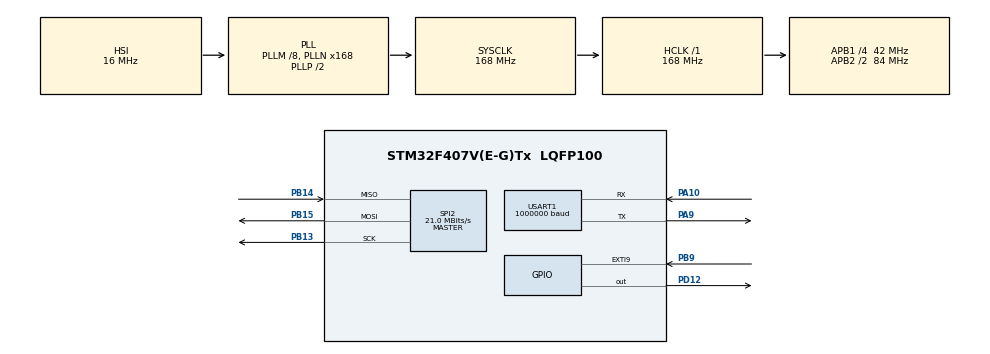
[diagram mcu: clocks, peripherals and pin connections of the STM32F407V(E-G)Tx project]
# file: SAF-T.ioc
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Mcu.Family=STM32F4
Mcu.Name=STM32F407V(E-G)Tx
Mcu.Package=LQFP100
NVIC.EXTI9_5_IRQn=true\:0\:0\:false\:false\:true\:true\:true\:true
NVIC.PriorityGroup=NVIC_PRIORITYGROUP_4
PA10.Mode=Asynchronous
PA10.Signal=USART1_RX
PA9.Mode=Asynchronous
PA9.Signal=USART1_TX
PB13.Mode=Full_Duplex_Master
PB13.Signal=SPI2_SCK
PB14.Mode=Full_Duplex_Master
PB14.Signal=SPI2_MISO
PB15.Mode=Full_Duplex_Master
PB15.Signal=SPI2_MOSI
PB9.GPIO_PuPd=GPIO_NOPULL
PB9.Signal=GPXTI9
PD12.Signal=GPIO_Output
ProjectManager.HeapSize=0x200
ProjectManager.StackSize=0x400
ProjectManager.TargetToolchain=STM32CubeIDE
RCC.48MHZClocksFreq_Value=84000000
RCC.AHBFreq_Value=168000000
RCC.APB1CLKDivider=RCC_HCLK_DIV4
RCC.APB1Freq_Value=42000000
RCC.APB1TimFreq_Value=84000000
RCC.APB2CLKDivider=RCC_HCLK_DIV2
RCC.APB2Freq_Value=84000000
RCC.APB2TimFreq_Value=168000000
RCC.CortexFreq_Value=168000000
RCC.HCLKFreq_Value=168000000
RCC.HSE_VALUE=25000000
RCC.HSI_VALUE=16000000
RCC.LSE_VALUE=32768
RCC.PLLM=8
RCC.PLLN=168
RCC.SYSCLKFreq_VALUE=168000000
RCC.SYSCLKSource=RCC_SYSCLKSOURCE_PLLCLK
RCC.VCOOutputFreq_Value=336000000
SPI2.CalculateBaudRate=21.0 MBits/s
SPI2.Direction=SPI_DIRECTION_2LINES
SPI2.Mode=SPI_MODE_MASTER
SPI2.VirtualType=VM_MASTER
USART1.BaudRate=1000000
USART1.VirtualMode=VM_ASYNC
board=custom

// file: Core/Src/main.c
/* USER CODE BEGIN Header */
/**
  ******************************************************************************
  * @file           : main.c
  * @brief          : Main program body
  ******************************************************************************
  * @attention
  *
  * Copyright (c) 2024 STMicroelectronics.
  * All rights reserved.
  *
  * This software is licensed under terms that can be found in the LICENSE file
  * in the root directory of this software component.
  * If no LICENSE file comes with this software, it is provided AS-IS.
  *
  ******************************************************************************
  */
/* USER CODE END Header */
#include "main.h"

/* USER CODE BEGIN Includes */

//#include "BMP280_SPI.h"
//#include "BMP280_SPI_2.h"
#include "MPU6500_SPI.h"
#include "math.h"
#include <stdio.h>
#include <stdlib.h>
#include <time.h>
#include "DEFINES.h"
#include "Utility.h"

/* USER CODE END Includes */

SPI_HandleTypeDef hspi2;

UART_HandleTypeDef huart1;

/* USER CODE BEGIN PV */
int teste = 0;
int teste2 = 0;

						//valor cru da temperatura

/* USER CODE END PV */

void SystemClock_Config(void);
static void MX_GPIO_Init(void);
static void MX_USART1_UART_Init(void);
static void MX_SPI2_Init(void);

int main(void)
{

  /* MCU Configuration--------------------------------------------------------*/

  /* Reset of all peripherals, Initializes the Flash interface and the Systick. */
  HAL_Init();

  /* Configure the system clock */
  SystemClock_Config();

  /* USER CODE BEGIN SysInit */
  Utility_Init();
  /* USER CODE END SysInit */

  /* Initialize all configured peripherals */
  MX_GPIO_Init();
  MX_USART1_UART_Init();
  MX_SPI2_Init();

  /* Infinite loop */
  /* USER CODE BEGIN WHILE */

  	SPI2_Init();		//inicialização da interface SPI2

	printf("\n--------  Exemplo de aplicação de uso MPU-6500 via SPI  --------\n\n");

	MPU6500_Config();
	MPU6500_Offset_Cancellation();

	  //Configuração do acesso via DMA
	SPI2->CR2 |= SPI_CR2_TXDMAEN;	//habilita solicitações DMA no TX do SPI2
	SPI2->CR2 |= SPI_CR2_RXDMAEN;	//habilita solicitações DMA no RX do SPI2
	DMA1_Config();
	PB9_Int_Config();

  while (1) {

		if (Sensor_Data_Ready) {

			gyro_signals();

		    kalman_1d(&KalmanAngleRoll, &KalmanUncertaintyAngleRoll, &RateRoll, &AngleRoll);
			KalmanAngleRoll = Kalman1DOutput[0];
			KalmanUncertaintyAngleRoll = Kalman1DOutput[1];
			kalman_1d(&KalmanAnglePitch, &KalmanUncertaintyAnglePitch, &RatePitch, &AnglePitch);
			KalmanAnglePitch = Kalman1DOutput[0];
			KalmanUncertaintyAnglePitch = Kalman1DOutput[1];

			printf("ROLL = %.1f°  PITCH = = %.1f°\n", KalmanAngleRoll, KalmanAnglePitch);

			Sensor_Data_Ready = FALSE;

		}
		/* USER CODE END WHILE */

	}
}

void SystemClock_Config(void)
{
  RCC_OscInitTypeDef RCC_OscInitStruct = {0};
  RCC_ClkInitTypeDef RCC_ClkInitStruct = {0};

  /** Configure the main internal regulator output voltage
  */
  __HAL_RCC_PWR_CLK_ENABLE();
  __HAL_PWR_VOLTAGESCALING_CONFIG(PWR_REGULATOR_VOLTAGE_SCALE1);

  /** Initializes the RCC Oscillators according to the specified parameters
  * in the RCC_OscInitTypeDef structure.
  */
  RCC_OscInitStruct.OscillatorType = RCC_OSCILLATORTYPE_HSI;
  RCC_OscInitStruct.HSIState = RCC_HSI_ON;
  RCC_OscInitStruct.HSICalibrationValue = RCC_HSICALIBRATION_DEFAULT;
  RCC_OscInitStruct.PLL.PLLState = RCC_PLL_ON;
  RCC_OscInitStruct.PLL.PLLSource = RCC_PLLSOURCE_HSI;
  RCC_OscInitStruct.PLL.PLLM = 8;
  RCC_OscInitStruct.PLL.PLLN = 168;
  RCC_OscInitStruct.PLL.PLLP = RCC_PLLP_DIV2;
  RCC_OscInitStruct.PLL.PLLQ = 4;
  if (HAL_RCC_OscConfig(&RCC_OscInitStruct) != HAL_OK)
  {
    Error_Handler();
  }

  /** Initializes the CPU, AHB and APB buses clocks
  */
  RCC_ClkInitStruct.ClockType = RCC_CLOCKTYPE_HCLK|RCC_CLOCKTYPE_SYSCLK
                              |RCC_CLOCKTYPE_PCLK1|RCC_CLOCKTYPE_PCLK2;
  RCC_ClkInitStruct.SYSCLKSource = RCC_SYSCLKSOURCE_PLLCLK;
  RCC_ClkInitStruct.AHBCLKDivider = RCC_SYSCLK_DIV1;
  RCC_ClkInitStruct.APB1CLKDivider = RCC_HCLK_DIV4;
  RCC_ClkInitStruct.APB2CLKDivider = RCC_HCLK_DIV2;

  if (HAL_RCC_ClockConfig(&RCC_ClkInitStruct, FLASH_LATENCY_5) != HAL_OK)
  {
    Error_Handler();
  }
}

static void MX_SPI2_Init(void)
{

  /* SPI2 parameter configuration*/
  hspi2.Instance = SPI2;
  hspi2.Init.Mode = SPI_MODE_MASTER;
  hspi2.Init.Direction = SPI_DIRECTION_2LINES;
  hspi2.Init.DataSize = SPI_DATASIZE_8BIT;
  hspi2.Init.CLKPolarity = SPI_POLARITY_LOW;
  hspi2.Init.CLKPhase = SPI_PHASE_1EDGE;
  hspi2.Init.NSS = SPI_NSS_SOFT;
  hspi2.Init.BaudRatePrescaler = SPI_BAUDRATEPRESCALER_2;
  hspi2.Init.FirstBit = SPI_FIRSTBIT_MSB;
  hspi2.Init.TIMode = SPI_TIMODE_DISABLE;
  hspi2.Init.CRCCalculation = SPI_CRCCALCULATION_DISABLE;
  hspi2.Init.CRCPolynomial = 10;
  if (HAL_SPI_Init(&hspi2) != HAL_OK)
  {
    Error_Handler();
  }

}

static void MX_USART1_UART_Init(void) {

	__HAL_RCC_USART1_CLK_ENABLE();	//habilita o clock da USART
	UART_HandleTypeDef huart1;
	huart1.Instance = USART1;
	huart1.Init.BaudRate = 1000000;	//baud rate = 1Mbps
	huart1.Init.WordLength = UART_WORDLENGTH_8B;
	huart1.Init.StopBits = UART_STOPBITS_1;
	huart1.Init.Parity = UART_PARITY_NONE;
	huart1.Init.Mode = UART_MODE_TX_RX;
	huart1.Init.HwFlowCtl = UART_HWCONTROL_NONE;
	huart1.Init.OverSampling = UART_OVERSAMPLING_16;
	if (HAL_UART_Init(&huart1) != HAL_OK) {
		Error_Handler();
	}
	/* USER CODE BEGIN USART1_Init 2 */
	//Enable RX interrupt
	USART1->CR1 |= USART_CR1_RXNEIE;
	HAL_NVIC_EnableIRQ(USART1_IRQn);
	//Delay_ms(1);
	/* USER CODE END USART1_Init 2 */
}

int __io_putchar(int ch) {
	USART1->DR = (ch & (uint16_t) 0x01FF);
	while (!(USART1->SR & USART_SR_TXE))
		;//espera pelo fim da transmissão do caractere para evitar a segunda transmissão antes da primeira ser concluída
	return ch;
}
int __io_getchar(void) {
	return (uint16_t) (USART1->DR & (uint16_t) 0x01FF);
}
//ISR da USART1. Todas as ISR's estão definidas no arquivo startup_stm32.s
void USART1_IRQHandler(void) {
	__io_putchar(__io_getchar());
}

static void MX_GPIO_Init(void)
{
  GPIO_InitTypeDef GPIO_InitStruct = {0};

  /* GPIO Ports Clock Enable */
  __HAL_RCC_GPIOB_CLK_ENABLE();
  __HAL_RCC_GPIOD_CLK_ENABLE();
  __HAL_RCC_GPIOA_CLK_ENABLE();

  /*Configure GPIO pin Output Level */
  HAL_GPIO_WritePin(GPIOD, GPIO_PIN_12, GPIO_PIN_RESET);

  /*Configure GPIO pin : PD12 */
  GPIO_InitStruct.Pin = GPIO_PIN_12;
  GPIO_InitStruct.Mode = GPIO_MODE_OUTPUT_PP;
  GPIO_InitStruct.Pull = GPIO_NOPULL;
  GPIO_InitStruct.Speed = GPIO_SPEED_FREQ_LOW;
  HAL_GPIO_Init(GPIOD, &GPIO_InitStruct);

  /*Configure GPIO pin : PB9 */
  GPIO_InitStruct.Pin = GPIO_PIN_9;
  GPIO_InitStruct.Mode = GPIO_MODE_IT_RISING;
  GPIO_InitStruct.Pull = GPIO_NOPULL;
  HAL_GPIO_Init(GPIOB, &GPIO_InitStruct);

  /* EXTI interrupt init*/
  HAL_NVIC_SetPriority(EXTI9_5_IRQn, 0, 0);
  HAL_NVIC_EnableIRQ(EXTI9_5_IRQn);

}

/* USER CODE BEGIN 4 */

void HAL_GPIO_EXTI_Callback(uint16_t GPIO_Pin)
{
	EXTI->PR |= (1 << 9);	//limpa o flag de pendência em EXTI9

	DMA1_Stream4->M0AR = (uint32_t) Tx_Data;//ponteiro do buffer dos dados a transmitir
	DMA1_Stream3->M0AR = (uint32_t) Rx_Data;//ponteiro do buffer dos dados a receber

	DMA1->LIFCR |= 0b111101 << 22;//limpa os flags de interrupção do stream 3 antes de reabilitá-lo
	DMA1->HIFCR |= 0b111101;//limpa os flags de interrupção do stream 4 antes de reabilitá-lo

	GPIOD->ODR &= ~(1 << 12);//faz o pino CS ir para nível baixo (inicia o comando SPI)
	DMA1_Stream3->CR |= DMA_SxCR_EN;	//reabilita o stream3 do DMA1 (SPI2_RX)
	DMA1_Stream4->CR |= DMA_SxCR_EN;	//reabilita o stream4 do DMA1 (SPI2_TX)

}

void DMA1_Stream3_IRQHandler(void)
{
	DMA1->LIFCR |= 0b111101 << 22;	//limpa as flags de interrupção
	GPIOD->ODR |= (1 << 12);		//faz o pino CS ir para nível alto (finaliza o comando SPI)
	Sensor_Data_Ready = TRUE;		//sinaliza que os dados estão prontos para processamento
}

/* USER CODE END 4 */

void Error_Handler(void)
{
  __disable_irq();
  while (1)
  {
  }
}
